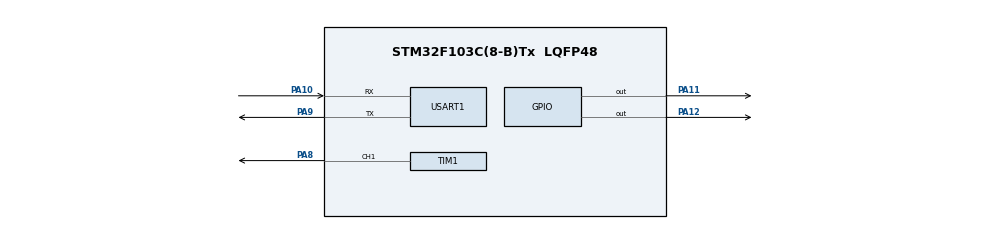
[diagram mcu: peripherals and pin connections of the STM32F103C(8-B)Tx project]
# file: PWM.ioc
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Dma.Request0=USART1_RX
Dma.USART1_RX.0.Direction=DMA_PERIPH_TO_MEMORY
Dma.USART1_RX.0.Instance=DMA1_Channel5
Dma.USART1_RX.0.MemDataAlignment=DMA_MDATAALIGN_BYTE
Dma.USART1_RX.0.MemInc=DMA_MINC_ENABLE
Dma.USART1_RX.0.Mode=DMA_CIRCULAR
Dma.USART1_RX.0.PeriphDataAlignment=DMA_PDATAALIGN_BYTE
Dma.USART1_RX.0.PeriphInc=DMA_PINC_DISABLE
Dma.USART1_RX.0.Priority=DMA_PRIORITY_LOW
Mcu.Family=STM32F1
Mcu.Name=STM32F103C(8-B)Tx
Mcu.Package=LQFP48
NVIC.DMA1_Channel5_IRQn=true\:0\:0\:false\:false\:true\:false\:true\:true
NVIC.PriorityGroup=NVIC_PRIORITYGROUP_4
NVIC.USART1_IRQn=true\:1\:0\:true\:false\:true\:true\:true\:true
PA10.Mode=Asynchronous
PA10.Signal=USART1_RX
PA11.Signal=GPIO_Output
PA12.Signal=GPIO_Output
PA13.Mode=Serial_Wire
PA13.Signal=SYS_JTMS-SWDIO
PA14.Mode=Serial_Wire
PA14.Signal=SYS_JTCK-SWCLK
PA8.Signal=S_TIM1_CH1
PA9.Mode=Asynchronous
PA9.Signal=USART1_TX
PD0-OSC_IN.Mode=HSE-External-Oscillator
PD0-OSC_IN.Signal=RCC_OSC_IN
PD1-OSC_OUT.Mode=HSE-External-Oscillator
PD1-OSC_OUT.Signal=RCC_OSC_OUT
ProjectManager.HeapSize=0x200
ProjectManager.StackSize=0x400
ProjectManager.TargetToolchain=MDK-ARM V5.32
RCC.APB1Freq_Value=8000000
RCC.APB2Freq_Value=8000000
SH.S_TIM1_CH1.0=TIM1_CH1,PWM Generation1 CH1
TIM1.Channel-PWM\ Generation1\ CH1=TIM_CHANNEL_1
TIM1.Period=999
TIM1.Prescaler=63
USART1.VirtualMode=VM_ASYNC
VP_TIM1_VS_ClockSourceINT.Mode=Internal
board=custom

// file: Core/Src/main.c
/* USER CODE BEGIN Header */
/**
  ******************************************************************************
  * @file           : main.c
  * @brief          : Main program body
  ******************************************************************************
  * @attention
  *
  * Copyright (c) 2025 STMicroelectronics.
  * All rights reserved.
  *
  * This software is licensed under terms that can be found in the LICENSE file
  * in the root directory of this software component.
  * If no LICENSE file comes with this software, it is provided AS-IS.
  *
  ******************************************************************************
  */
/* USER CODE END Header */
#include "main.h"

/* USER CODE BEGIN Includes */
#include "stdlib.h"
volatile uint8_t data_received_flag=0;
uint16_t pwmValue;
uint8_t data_RX[3]={0};
/* USER CODE END Includes */

TIM_HandleTypeDef htim1;

UART_HandleTypeDef huart1;
DMA_HandleTypeDef hdma_usart1_rx;

void SystemClock_Config(void);
static void MX_GPIO_Init(void);
static void MX_DMA_Init(void);
static void MX_TIM1_Init(void);
static void MX_USART1_UART_Init(void);

int main(void)
{

  /* MCU Configuration--------------------------------------------------------*/

  /* Reset of all peripherals, Initializes the Flash interface and the Systick. */
  HAL_Init();

  /* Configure the system clock */
  SystemClock_Config();

  /* Initialize all configured peripherals */
  MX_GPIO_Init();
  MX_DMA_Init();
  MX_TIM1_Init();
  MX_USART1_UART_Init();
  /* USER CODE BEGIN 2 */
	HAL_TIM_PWM_Start(&htim1, TIM_CHANNEL_1 );
	HAL_UART_Receive_DMA (&huart1, data_RX ,3);
	HAL_GPIO_WritePin(GPIOA ,GPIO_PIN_11,GPIO_PIN_RESET);
	HAL_GPIO_WritePin(GPIOA ,GPIO_PIN_12,GPIO_PIN_SET);
	//if (HAL_GPIO_ReadPin (GPIOA ,GPIO_PIN_3 )==0)
	//		{
	//			HAL_GPIO_WritePin(GPIOA ,GPIO_PIN_11,GPIO_PIN_RESET);
	//			HAL_GPIO_WritePin(GPIOA ,GPIO_PIN_11,GPIO_PIN_SET);
	//		}else{
	//			HAL_GPIO_WritePin(GPIOA ,GPIO_PIN_11,GPIO_PIN_SET);
	//			HAL_GPIO_WritePin(GPIOA ,GPIO_PIN_11,GPIO_PIN_RESET);
	//		}
  /* USER CODE END 2 */

  /* Infinite loop */
  while (1)
  {

    /* USER CODE BEGIN 3 */
		if (data_received_flag ==1)
		{
			data_received_flag=0;
			pwmValue=atoi((char*)data_RX);
			__HAL_TIM_SET_COMPARE (&htim1, TIM_CHANNEL_1, pwmValue );
		}
	}
  /* USER CODE END 3 */
}

void SystemClock_Config(void)
{
  RCC_OscInitTypeDef RCC_OscInitStruct = {0};
  RCC_ClkInitTypeDef RCC_ClkInitStruct = {0};

  /** Initializes the RCC Oscillators according to the specified parameters
  * in the RCC_OscInitTypeDef structure.
  */
  RCC_OscInitStruct.OscillatorType = RCC_OSCILLATORTYPE_HSI;
  RCC_OscInitStruct.HSIState = RCC_HSI_ON;
  RCC_OscInitStruct.HSICalibrationValue = RCC_HSICALIBRATION_DEFAULT;
  RCC_OscInitStruct.PLL.PLLState = RCC_PLL_NONE;
  if (HAL_RCC_OscConfig(&RCC_OscInitStruct) != HAL_OK)
  {
    Error_Handler();
  }

  /** Initializes the CPU, AHB and APB buses clocks
  */
  RCC_ClkInitStruct.ClockType = RCC_CLOCKTYPE_HCLK|RCC_CLOCKTYPE_SYSCLK
                              |RCC_CLOCKTYPE_PCLK1|RCC_CLOCKTYPE_PCLK2;
  RCC_ClkInitStruct.SYSCLKSource = RCC_SYSCLKSOURCE_HSI;
  RCC_ClkInitStruct.AHBCLKDivider = RCC_SYSCLK_DIV1;
  RCC_ClkInitStruct.APB1CLKDivider = RCC_HCLK_DIV1;
  RCC_ClkInitStruct.APB2CLKDivider = RCC_HCLK_DIV1;

  if (HAL_RCC_ClockConfig(&RCC_ClkInitStruct, FLASH_LATENCY_0) != HAL_OK)
  {
    Error_Handler();
  }
}

static void MX_TIM1_Init(void)
{

  TIM_ClockConfigTypeDef sClockSourceConfig = {0};
  TIM_MasterConfigTypeDef sMasterConfig = {0};
  TIM_OC_InitTypeDef sConfigOC = {0};
  TIM_BreakDeadTimeConfigTypeDef sBreakDeadTimeConfig = {0};

  htim1.Instance = TIM1;
  htim1.Init.Prescaler = 63;
  htim1.Init.CounterMode = TIM_COUNTERMODE_UP;
  htim1.Init.Period = 100;
  htim1.Init.ClockDivision = TIM_CLOCKDIVISION_DIV1;
  htim1.Init.RepetitionCounter = 0;
  htim1.Init.AutoReloadPreload = TIM_AUTORELOAD_PRELOAD_DISABLE;
  if (HAL_TIM_Base_Init(&htim1) != HAL_OK)
  {
    Error_Handler();
  }
  sClockSourceConfig.ClockSource = TIM_CLOCKSOURCE_INTERNAL;
  if (HAL_TIM_ConfigClockSource(&htim1, &sClockSourceConfig) != HAL_OK)
  {
    Error_Handler();
  }
  if (HAL_TIM_PWM_Init(&htim1) != HAL_OK)
  {
    Error_Handler();
  }
  sMasterConfig.MasterOutputTrigger = TIM_TRGO_RESET;
  sMasterConfig.MasterSlaveMode = TIM_MASTERSLAVEMODE_DISABLE;
  if (HAL_TIMEx_MasterConfigSynchronization(&htim1, &sMasterConfig) != HAL_OK)
  {
    Error_Handler();
  }
  sConfigOC.OCMode = TIM_OCMODE_PWM1;
  sConfigOC.Pulse = 0;
  sConfigOC.OCPolarity = TIM_OCPOLARITY_HIGH;
  sConfigOC.OCNPolarity = TIM_OCNPOLARITY_HIGH;
  sConfigOC.OCFastMode = TIM_OCFAST_DISABLE;
  sConfigOC.OCIdleState = TIM_OCIDLESTATE_RESET;
  sConfigOC.OCNIdleState = TIM_OCNIDLESTATE_RESET;
  if (HAL_TIM_PWM_ConfigChannel(&htim1, &sConfigOC, TIM_CHANNEL_1) != HAL_OK)
  {
    Error_Handler();
  }
  sBreakDeadTimeConfig.OffStateRunMode = TIM_OSSR_DISABLE;
  sBreakDeadTimeConfig.OffStateIDLEMode = TIM_OSSI_DISABLE;
  sBreakDeadTimeConfig.LockLevel = TIM_LOCKLEVEL_OFF;
  sBreakDeadTimeConfig.DeadTime = 0;
  sBreakDeadTimeConfig.BreakState = TIM_BREAK_DISABLE;
  sBreakDeadTimeConfig.BreakPolarity = TIM_BREAKPOLARITY_HIGH;
  sBreakDeadTimeConfig.AutomaticOutput = TIM_AUTOMATICOUTPUT_DISABLE;
  if (HAL_TIMEx_ConfigBreakDeadTime(&htim1, &sBreakDeadTimeConfig) != HAL_OK)
  {
    Error_Handler();
  }
  HAL_TIM_MspPostInit(&htim1);

}

static void MX_USART1_UART_Init(void)
{

  huart1.Instance = USART1;
  huart1.Init.BaudRate = 115200;
  huart1.Init.WordLength = UART_WORDLENGTH_8B;
  huart1.Init.StopBits = UART_STOPBITS_1;
  huart1.Init.Parity = UART_PARITY_NONE;
  huart1.Init.Mode = UART_MODE_TX_RX;
  huart1.Init.HwFlowCtl = UART_HWCONTROL_NONE;
  huart1.Init.OverSampling = UART_OVERSAMPLING_16;
  if (HAL_UART_Init(&huart1) != HAL_OK)
  {
    Error_Handler();
  }

}

static void MX_DMA_Init(void)
{

  /* DMA controller clock enable */
  __HAL_RCC_DMA1_CLK_ENABLE();

  /* DMA interrupt init */
  /* DMA1_Channel5_IRQn interrupt configuration */
  HAL_NVIC_SetPriority(DMA1_Channel5_IRQn, 0, 0);
  HAL_NVIC_EnableIRQ(DMA1_Channel5_IRQn);

}

static void MX_GPIO_Init(void)
{
  GPIO_InitTypeDef GPIO_InitStruct = {0};

  /* GPIO Ports Clock Enable */
  __HAL_RCC_GPIOD_CLK_ENABLE();
  __HAL_RCC_GPIOA_CLK_ENABLE();

  /*Configure GPIO pin Output Level */
  HAL_GPIO_WritePin(GPIOA, GPIO_PIN_11|GPIO_PIN_12, GPIO_PIN_RESET);

  /*Configure GPIO pins : PA11 PA12 */
  GPIO_InitStruct.Pin = GPIO_PIN_11|GPIO_PIN_12;
  GPIO_InitStruct.Mode = GPIO_MODE_OUTPUT_PP;
  GPIO_InitStruct.Pull = GPIO_NOPULL;
  GPIO_InitStruct.Speed = GPIO_SPEED_FREQ_LOW;
  HAL_GPIO_Init(GPIOA, &GPIO_InitStruct);

}

/* USER CODE BEGIN 4 */
void HAL_UART_RxCpltCallback(UART_HandleTypeDef *huart)
{
	if(huart->Instance==USART1)
	{
		data_received_flag=1;
	}
}
/* USER CODE END 4 */

void Error_Handler(void)
{
  __disable_irq();
  while (1)
  {
  }
}
